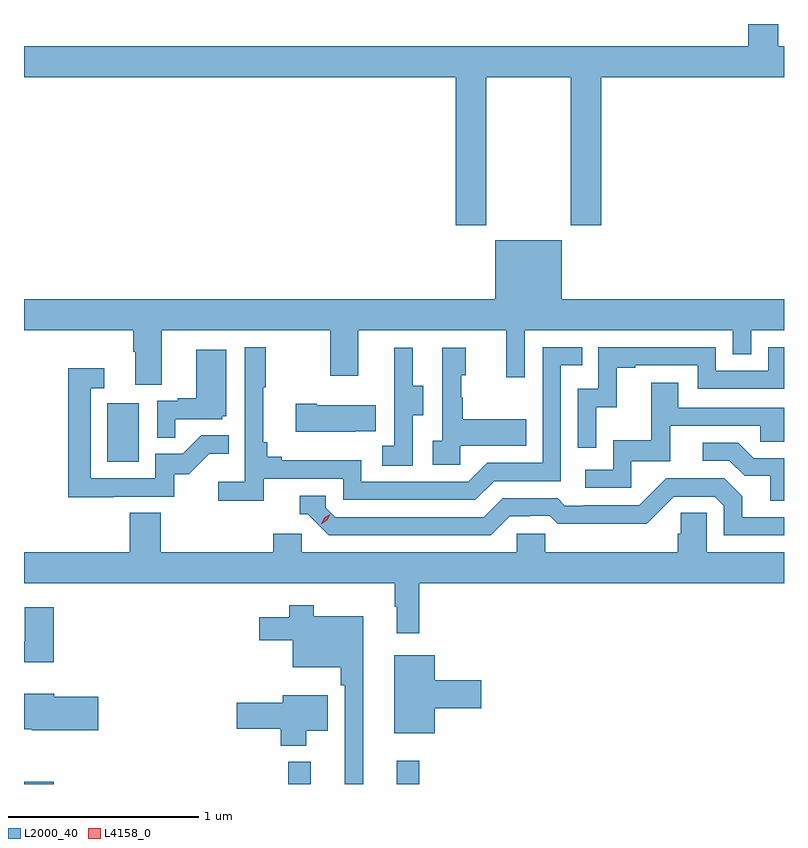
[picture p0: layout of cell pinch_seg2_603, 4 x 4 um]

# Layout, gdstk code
import gdstk
lib = gdstk.Library(unit=1e-6, precision=1e-09)
def R(c, l, rs):  # rectangles x0, y0, x1, y1
    for r in rs: c.add(gdstk.rectangle(r[:2], r[2:], *l))
def P(c, l, *ps):  # polygons
    for p in ps: c.add(gdstk.Polygon(p, *l))
L2000_40 = (2000, 40)
L4158_0 = (4158, 0)

pinch_seg2_603 = lib.new_cell('pinch_seg2_603')
R(pinch_seg2_603, L2000_40, [(1018.249,611.948,1018.406,611.96), (1019.641,611.948,1019.759,612.064), (1020.212,611.948,1020.329,612.07), (1018.688,613.644,1018.852,613.951)])
P(pinch_seg2_603, L2000_40, [(1020.681,615.668),(1021.126,615.668),(1021.126,614.889),(1021.286,614.889),(1021.286,615.668),(1022.249,615.668),(1022.249,615.832),(1022.22,615.832),(1022.22,615.948),(1022.06,615.948),(1022.06,615.832),(1018.249,615.832),(1018.249,615.668),(1020.521,615.668),(1020.521,614.889),(1020.681,614.889)],
  [(1018.975,614.336),(1019.86,614.336),(1019.86,614.097),(1020.007,614.097),(1020.007,614.336),(1020.788,614.336),(1020.788,614.088),(1020.885,614.088),(1020.885,614.336),(1021.98,614.336),(1021.98,614.209),(1022.076,614.209),(1022.076,614.336),(1022.249,614.336),(1022.249,614.5),(1021.078,614.5),(1021.078,614.809),(1020.728,614.809),(1020.728,614.5),(1018.249,614.5),(1018.249,614.336),(1018.823,614.336),(1018.823,614.224),(1018.835,614.224),(1018.835,614.05),(1018.975,614.05)],
  [(1019.51,613.554),(1019.928,613.554),(1019.928,613.443),(1020.625,613.443),(1020.724,613.542),(1021.074,613.542),(1021.074,614.151),(1021.187,614.151),(1021.187,614.247),(1020.978,614.247),(1020.978,613.638),(1020.687,613.638),(1020.588,613.539),(1020.024,613.539),(1020.024,613.651),(1019.605,613.651),(1019.605,613.67),(1019.528,613.67),(1019.528,613.747),(1019.509,613.747),(1019.509,614.035),(1019.521,614.035),(1019.521,614.248),(1019.412,614.248),(1019.412,613.54),(1019.271,613.54),(1019.271,613.438),(1019.51,613.438)],
  [(1021.26,613.931),(1021.37,613.931),(1021.37,614.139),(1021.465,614.139),(1021.465,614.151),(1021.794,614.151),(1021.794,614.028),(1022.249,614.028),(1022.249,614.247),(1022.166,614.247),(1022.166,614.124),(1021.89,614.124),(1021.89,614.247),(1021.272,614.247),(1021.272,614.028),(1021.164,614.028),(1021.164,613.719),(1021.26,613.719)],
  [(1020.294,613.888),(1020.349,613.888),(1020.349,614.043),(1020.295,614.043),(1020.295,614.245),(1020.197,614.245),(1020.197,614.031),(1020.198,614.031),(1020.198,613.727),(1020.135,613.727),(1020.135,613.624),(1020.294,613.624)],
  [(1020.546,613.727),(1020.893,613.727),(1020.893,613.867),(1020.559,613.867),(1020.559,613.982),(1020.549,613.982),(1020.549,614.1),(1020.574,614.1),(1020.574,614.245),(1020.45,614.245),(1020.45,613.754),(1020.399,613.754),(1020.399,613.629),(1020.546,613.629)],
  [(1019.045,613.869),(1019.292,613.869),(1019.292,613.884),(1019.314,613.884),(1019.314,614.233),(1019.156,614.233),(1019.156,613.978),(1019.057,613.978),(1019.057,613.965),(1018.95,613.965),(1018.95,613.771),(1019.045,613.771)],
  [(1018.721,613.461),(1019.04,613.461),(1019.04,613.578),(1019.116,613.578),(1019.223,613.685),(1019.327,613.685),(1019.327,613.784),(1019.183,613.784),(1019.085,613.686),(1018.941,613.686),(1018.941,613.557),(1018.599,613.557),(1018.599,614.031),(1018.672,614.031),(1018.672,614.137),(1018.483,614.137),(1018.483,613.456),(1018.721,613.456)],
  [(1021.446,613.647),(1021.651,613.647),(1021.651,613.833),(1022.125,613.833),(1022.125,613.749),(1022.249,613.749),(1022.249,613.929),(1021.693,613.929),(1021.693,614.059),(1021.549,614.059),(1021.549,613.756),(1021.35,613.756),(1021.35,613.602),(1021.203,613.602),(1021.203,613.506),(1021.446,613.506)],
  [(1019.993,613.805),(1020.101,613.805),(1020.101,613.942),(1019.791,613.942),(1019.791,613.95),(1019.679,613.95),(1019.679,613.802),(1019.993,613.802)],
  [(1022.249,613.662),(1022.089,613.662),(1022.008,613.743),(1021.821,613.743),(1021.821,613.65),(1021.962,613.65),(1022.042,613.57),(1022.177,613.57),(1022.177,613.438),(1022.249,613.438)],
  [(1020.805,613.356),(1020.912,613.356),(1020.912,613.359),(1021.015,613.359),(1021.057,613.317),(1021.29,613.317),(1021.29,613.319),(1021.526,613.319),(1021.668,613.461),(1021.884,613.461),(1021.932,613.413),(1021.932,613.257),(1022.249,613.257),(1022.249,613.353),(1022.029,613.353),(1022.029,613.463),(1021.935,613.557),(1021.629,613.557),(1021.488,613.416),(1021.195,613.416),(1021.195,613.413),(1021.096,613.413),(1021.057,613.452),(1020.768,613.452),(1020.669,613.353),(1019.886,613.353),(1019.838,613.401),(1019.838,613.464),(1019.699,613.464),(1019.699,613.368),(1019.742,613.368),(1019.853,613.257),(1020.706,613.257)],
  [(1020.329,613.004),(1022.249,613.004),(1022.249,613.168),(1021.842,613.168),(1021.842,613.376),(1021.705,613.376),(1021.705,613.266),(1021.691,613.266),(1021.691,613.168),(1020.993,613.168),(1020.993,613.266),(1020.843,613.266),(1020.843,613.168),(1019.712,613.168),(1019.712,613.266),(1019.561,613.266),(1019.561,613.168),(1018.97,613.168),(1018.97,613.376),(1018.805,613.376),(1018.805,613.168),(1018.249,613.168),(1018.249,613.004),(1020.201,613.004),(1020.201,612.881),(1020.212,612.881),(1020.212,612.741),(1020.329,612.741)],
  [(1020.034,612.832),(1019.773,612.832),(1019.773,612.889),(1019.644,612.889),(1019.644,612.826),(1019.487,612.826),(1019.487,612.704),(1019.663,612.704),(1019.663,612.563),(1019.917,612.563),(1019.917,612.467),(1019.937,612.467),(1019.937,611.948),(1020.034,611.948)],
  [(1018.406,612.877),(1018.253,612.877),(1018.253,612.7),(1018.249,612.7),(1018.249,612.59),(1018.406,612.59)],
  [(1020.412,612.347),(1020.655,612.347),(1020.655,612.494),(1020.412,612.494),(1020.412,612.625),(1020.197,612.625),(1020.197,612.215),(1020.412,612.215)],
  [(1018.639,612.407),(1018.408,612.407),(1018.408,612.424),(1018.249,612.424),(1018.249,612.236),(1018.29,612.236),(1018.29,612.23),(1018.639,612.23)],
  [(1019.734,612.227),(1019.848,612.227),(1019.848,612.415),(1019.612,612.415),(1019.612,612.375),(1019.37,612.375),(1019.37,612.238),(1019.6,612.238),(1019.6,612.149),(1019.734,612.149)])
P(pinch_seg2_603, L4158_0, [(1019.813,613.316),(1019.813,613.317),(1019.829,613.349),(1019.86,613.369),(1019.861,613.369),(1019.861,613.369),(1019.844,613.336),(1019.813,613.316)])

lib.write_gds('pinch_seg2_603.gds')
